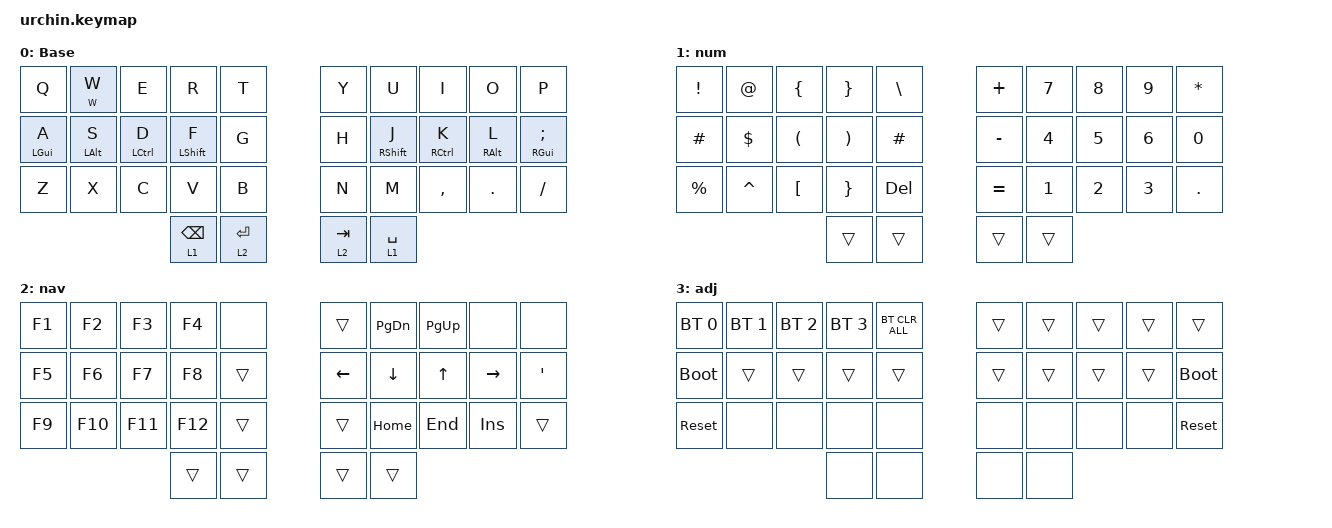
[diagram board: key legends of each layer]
/*
 * Copyright (c) 2020 duckyb
 *
 * SPDX-License-Identifier: MIT
 */

#include "keymap_italian.h"
#include <behaviors.dtsi>
#include <dt-bindings/zmk/bt.h>
#include <dt-bindings/zmk/keys.h>

// Layer definitions

#define BASE 0
#define SYM 1
#define EXT 2
#define FNC 3
#define SYM2 4
#define ACCENT 5
#define SETTINGS 6

// -----------------

&sk {
    // don't release mods on other mods presses

    ignore-modifiers;
};

/ {
    behaviors {
        as: auto_shift {
            compatible = "zmk,behavior-hold-tap";
            #binding-cells = <2>;

            // quick_tap_ms = <0>;

            require-prior-idle-ms = <100>;
            flavor = "tap-preferred";
            bindings = <&kp>, <&kp>;

            tapping-term-ms = <250>;
        };

        ht: hold_tap {
            compatible = "zmk,behavior-hold-tap";
            #binding-cells = <2>;
            flavor = "balanced";
            bindings = <&kp>, <&kp>;

            tapping-term-ms = <200>;
        };

        sabk: shift_to_alt_backspace {
            compatible = "zmk,behavior-mod-morph";
            #binding-cells = <0>;
            bindings = <&kp BSPC>, <&kp LA(BSPC)>;

            mods = <(MOD_LSFT|MOD_RSFT)>;
        };

        smart_shift: smart_shift {
            compatible = "zmk,behavior-mod-morph";
            #binding-cells = <0>;
            bindings = <&sk LSHFT>, <&caps_word>;

            mods = <(MOD_LSFT|MOD_RSFT)>;
        };

        sym_bspc: left_thumb_hold_tap {
            compatible = "zmk,behavior-hold-tap";
            #binding-cells = <2>;
            flavor = "tap-preferred";
            tapping-term-ms = <150>;
            quick-tap-ms = <200>;
            bindings = <&mo>, <&sabk>;
        };

        lhm: left_homerow_mods {
            compatible = "zmk,behavior-hold-tap";
            #binding-cells = <2>;
            flavor = "balanced";
            tapping-term-ms = <280>;
            quick-tap-ms = <175>;
            require-prior-idle-ms = <150>;
            bindings = <&kp>, <&kp>;

            hold-trigger-key-positions = <5 6 7 8 9 15 16 17 18 19 25 26 27 28 29 30 31 32 33>;
        };

        rhm: right_homerow_mods {
            compatible = "zmk,behavior-hold-tap";
            #binding-cells = <2>;
            flavor = "balanced";
            tapping-term-ms = <280>;
            quick-tap-ms = <175>;
            require-prior-idle-ms = <150>;
            bindings = <&kp>, <&kp>;

            hold-trigger-key-positions = <0 1 2 3 4 10 11 12 13 14 20 21 22 23 24 30 31 32 33>;
        };

        hm: homerow_mods {
            compatible = "zmk,behavior-hold-tap";
            label = "HOMEROW_MODS";
            bindings = <&kp>, <&kp>;

            #binding-cells = <2>;
            tapping-term-ms = <160>;
            quick-tap-ms = <0>;
            flavor = "tap-preferred";
        };

        hr: homerow_mods_ring_finger {
            compatible = "zmk,behavior-hold-tap";
            label = "HOMEROW_MODS_RING_FINGER";
            bindings = <&kp>, <&kp>;

            #binding-cells = <2>;
            tapping-term-ms = <190>;
            quick-tap-ms = <0>;
            flavor = "tap-preferred";
        };

        hp: homerow_mods_pinky_finger {
            compatible = "zmk,behavior-hold-tap";
            label = "HOMEROW_MODS_PINKY_FINGER";
            bindings = <&kp>, <&kp>;

            #binding-cells = <2>;
            tapping-term-ms = <220>;
            require-prior-idle-ms = <0>;
            flavor = "tap-preferred";
        };

        tm: thumb_mods {
            compatible = "zmk,behavior-hold-tap";
            label = "THUMB_MODS";
            bindings = <&kp>, <&kp>;

            #binding-cells = <2>;
            tapping-term-ms = <160>;
            quick-tap-ms = <160>;
            flavor = "tap-preferred";
        };

        lh: layer_hold {
            compatible = "zmk,behavior-hold-tap";
            label = "LAYER_HOLD";
            bindings = <&mo>, <&kp>;

            #binding-cells = <2>;
            tapping-term-ms = <160>;
            quick-tap-ms = <160>;
            flavor = "tap-preferred";
        };
    };

    conditional_layers {
        compatible = "zmk,conditional-layers";

        tri_layer {
            if-layers = <1 2>;
            then-layer = <3>;
        };
    };

    combos {
        compatible = "zmk,combos";

        esc {
            bindings = <&kp ESCAPE>;
            key-positions = <16 17>;
            layers = <0>;
            timeout-ms = <200>;
        };

        boot-left {
            bindings = <&bootloader>;
            key-positions = <14 4>;
            timeout-ms = <200>;
            layers = <2>;
        };

        boot-right {
            bindings = <&bootloader>;
            key-positions = <5 15>;
            timeout-ms = <200>;
            layers = <2>;
        };

        del {
            bindings = <&kp DEL>;
            key-positions = <7 8>;
            timeout-ms = <200>;
            layers = <0>;
        };

        esc-2 {
            bindings = <&kp ESCAPE>;
            key-positions = <1 2>;
            timeout-ms = <200>;
            layers = <0>;
        };

        combo_caps {
            bindings = <&caps_word>;
            key-positions = <13 16>;
            timeout-ms = <50>;
            layers = <0>;
        };

        undo {
            bindings = <&kp LG(Z)>;
            key-positions = <20 21>;
            timeout-ms = <100>;
            layers = <0>;
        };

        cut {
            bindings = <&kp LG(X)>;
            key-positions = <20 22>;
            timeout-ms = <100>;
            layers = <0>;
        };

        copy {
            bindings = <&kp LG(C)>;
            key-positions = <22 21>;
            timeout-ms = <100>;
            layers = <0>;
        };

        paste {
            bindings = <&kp LG(V)>;
            key-positions = <22 23>;
            timeout-ms = <100>;
            layers = <0>;
        };

        select-all {
            bindings = <&kp LG(A)>;
            key-positions = <23 20>;
            timeout-ms = <100>;
            layers = <0>;
        };
    };

    keymap {
        compatible = "zmk,keymap";

        // Base alpha layer

        base {
            label = "Base";
            bindings = <
&kp Q             &ht W W           &kp E                 &kp R               &kp T          &kp Y        &kp U                &kp I                  &kp O              &kp P
&hp LEFT_GUI A    &hr LEFT_ALT S    &hm LEFT_CONTROL D    &hm LEFT_SHIFT F    &kp G          &kp H        &hm RIGHT_SHIFT J    &hm RIGHT_CONTROL K    &hr RIGHT_ALT L    &hp RIGHT_GUI SEMICOLON
&kp Z             &kp X             &kp C                 &kp V               &kp B          &kp N        &kp M                &kp COMMA              &kp DOT            &kp SLASH
                                                          &lh 1 BACKSPACE     &lt 2 ENTER    &lt 2 TAB    &lt 1 SPACE
            >;
        };

        // Numbers and high frequency symbols

        num {
            label = "num";
            bindings = <
&kp EXCL       &kp AT        &kp LEFT_BRACE          &kp RIGHT_BRACE          &kp BACKSLASH    &kp PLUS     &kp N7    &kp N8    &kp N9    &kp STAR
&kp HASH       &kp DOLLAR    &kp LEFT_PARENTHESIS    &kp RIGHT_PARENTHESIS    &kp HASH         &kp MINUS    &kp N4    &kp N5    &kp N6    &kp N0
&kp PERCENT    &kp CARET     &kp LEFT_BRACKET        &kp RIGHT_BRACE          &kp DELETE       &kp EQUAL    &kp N1    &kp N2    &kp N3    &kp DOT
                                                     &trans                   &trans           &trans       &trans
            >;
        };

        // Main modifiers and arrow keys

        nav {
            label = "nav";
            bindings = <
&kp F1    &kp F2     &kp F3     &kp F4     &none     &trans            &kp PAGE_DOWN     &kp PAGE_UP     &none        &none
&kp F5    &kp F6     &kp F7     &kp F8     &trans    &kp LEFT_ARROW    &kp DOWN_ARROW    &kp UP_ARROW    &kp RIGHT    &kp APOS
&kp F9    &kp F10    &kp F11    &kp F12    &trans    &trans            &kp HOME          &kp END         &kp INS      &trans
                                &trans     &trans    &trans            &trans
            >;
        };

        // Function keys with modifiers

        adj {
            label = "adj";
            bindings = <
&bt BT_SEL 0    &bt BT_SEL 1    &bt BT_SEL 2    &bt BT_SEL 3    &bt BT_CLR_ALL    &trans    &trans    &trans    &trans    &trans
&bootloader     &trans          &trans          &trans          &trans            &trans    &trans    &trans    &trans    &bootloader
&sys_reset      &none           &none           &none           &none             &none     &none     &none     &none     &sys_reset
                                                &none           &none             &none     &none
            >;
        };

        // Low frequency symbols.
        // Used to type regional accents.
        // Used to change the keyboard's settings.
    };
};
